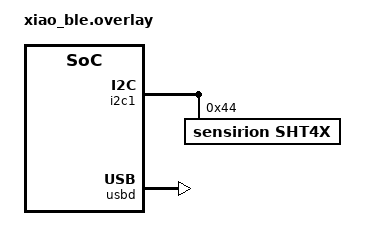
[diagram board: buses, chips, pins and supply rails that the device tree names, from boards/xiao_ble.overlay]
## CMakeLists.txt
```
#
# Copyright (c) 2025 Nordic Semiconductor ASA
#
# SPDX-License-Identifier: LicenseRef-Nordic-5-Clause
#

cmake_minimum_required(VERSION 3.20.0)

find_package(Zephyr HINTS $ENV{ZEPHYR_BASE})

project(matter-temperature-sensor)

# Enable GNU STD support.
include(${ZEPHYR_CONNECTEDHOMEIP_MODULE_DIR}/config/nrfconnect/app/enable-gnu-std.cmake)

# NORDIC SDK APP START

# Include all source files that are located in the Matter common directory.
include(${ZEPHYR_NRF_MODULE_DIR}/samples/matter/common/cmake/source_common.cmake)

# Include Data Model utils
include(${ZEPHYR_NRF_MODULE_DIR}/samples/matter/common/cmake/data_model.cmake)

include(${ZEPHYR_NRF_MODULE_DIR}/samples/matter/common/cmake/zap_helpers.cmake)
ncs_get_zap_parent_dir(ZAP_PARENT_DIR)

target_include_directories(app PRIVATE
  src
  ${ZAP_PARENT_DIR}
)

target_sources(app PRIVATE
  src/app_task.cpp
  src/main.cpp
  src/tinyenv_device_identity.cpp
)

if(CONFIG_SHELL)
  target_sources(app PRIVATE src/shell_commands.cpp)
endif()

ncs_configure_data_model()
# NORDIC SDK APP END
```

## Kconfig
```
#
# Copyright (c) 2025 Nordic Semiconductor
#
# SPDX-License-Identifier: LicenseRef-Nordic-5-Clause
#
mainmenu "Matter nRF Connect Temperature Sensor Example Application"

choice OPENTHREAD_NORDIC_LIBRARY_CONFIGURATION
	default OPENTHREAD_NORDIC_LIBRARY_MTD
endchoice

choice OPENTHREAD_DEVICE_TYPE
	default OPENTHREAD_MTD
endchoice

config CHIP_ENABLE_ICD_SUPPORT
	default y

config CHIP_ICD_LIT_SUPPORT
	default y

config CHIP_ICD_SIT_SLOW_POLL_LIMIT
	default 5000

config CHIP_ICD_REPORT_ON_ACTIVE_MODE
	default y

# Application logging verbosity gate
config TINYENV_VERBOSE_LOGS
	bool "Enable verbose TinyENV nRF sensor logs"
	default n

config TINYENV_DISABLE_BOARD_UI
	bool "Disable board UI (LED widget/event handler)"
	default n

config TINYENV_ENABLE_STATUS_LED_ACTIVITY
	bool "Enable status LED thread and sensor-pulse LED"
	default y

config TINYENV_ENABLE_BOOT_I2C_SCAN
	bool "Enable I2C bus scan at boot"
	default n

config TINYENV_WIPE_SETTINGS_ON_BOOT
	bool "Erase settings storage on boot"
	default n
	help
	  One-shot recovery mode for UF2-only boards. Erases the settings
	  partition at boot, logs the result, and parks instead of starting Matter.

config TINYENV_RUNTIME_IDENTITY_PROVIDER
	bool "Use runtime Matter identity provider"
	default y
	help
	  Derive Matter serial/RDI values from nRF FICR at runtime. Disable only
	  for bring-up isolation when testing Matter/OpenThread initialization.

config TINYENV_POST_COMMISSION_THREAD_TX_POWER_DBM
	int "Thread TX power after commissioning (dBm)"
	range -20 20
	default 0
	help
	  Runtime Thread TX power used after commissioning hold expires.
	  During commissioning window and post-close grace, firmware forces
	  full power for reliability.

config TINYENV_DIAGNOSTIC_MODE
	bool "Enable diagnostic telemetry mode"
	default n
	help
	  Enables persistent counters, reset-cause tracking, watchdog setup,
	  periodic health snapshots, and detached-role recovery logging.

config TINYENV_DIAG_WATCHDOG_TIMEOUT_SEC
	int "Diagnostic watchdog timeout (seconds)"
	range 30 3600
	default 180
	depends on TINYENV_DIAGNOSTIC_MODE

config TINYENV_DIAG_SNAPSHOT_INTERVAL_SEC
	int "Diagnostic health snapshot interval (seconds)"
	range 60 3600
	default 600
	depends on TINYENV_DIAGNOSTIC_MODE

config TINYENV_DIAG_DETACHED_REBOOT_SEC
	int "Commissioned detached-role reboot threshold (seconds)"
	range 60 3600
	default 300
	depends on TINYENV_DIAGNOSTIC_MODE

# Keep Thread TX power high enough for robust parent/router handoffs.
config OPENTHREAD_DEFAULT_TX_POWER
	default 8

source "$(ZEPHYR_CONNECTEDHOMEIP_MODULE_DIR)/config/nrfconnect/chip-module/Kconfig.features"
source "$(ZEPHYR_CONNECTEDHOMEIP_MODULE_DIR)/config/nrfconnect/chip-module/Kconfig.defaults"
source "$(ZEPHYR_NRF_MODULE_DIR)/samples/matter/common/src/Kconfig"
source "Kconfig.zephyr"
```

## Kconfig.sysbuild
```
#
# Copyright (c) 2025 Nordic Semiconductor ASA
#
# SPDX-License-Identifier: LicenseRef-Nordic-5-Clause
#

#### Radio core selection
config NRF_DEFAULT_IPC_RADIO
	default y

# Enable IEEE802.15.4 serialization to network core
# This config automatically pulls in the `overlay-802154.conf` in the ipc_radio image
config NETCORE_IPC_RADIO_IEEE802154
	default y if SOC_SERIES_NRF53X

# Enable Bluetooth serialization to network core
# This config automatically pulls in the `overlay-bt_hci_ipc.conf` in the ipc_radio image
config NETCORE_IPC_RADIO_BT_HCI_IPC
	default y if SOC_SERIES_NRF53X

#### Bootloader
choice BOOTLOADER
	default BOOTLOADER_MCUBOOT
endchoice

if BOOTLOADER_MCUBOOT

#### DFU multi-image support
config DFU_MULTI_IMAGE_PACKAGE_BUILD
	default y

config DFU_MULTI_IMAGE_PACKAGE_APP
	default y

config PM_EXTERNAL_FLASH_MCUBOOT_SECONDARY
	default y

#### DFU network core configuration
if SOC_SERIES_NRF53X

config MCUBOOT_UPDATEABLE_IMAGES
	default 2

choice MCUBOOT_MODE
	default MCUBOOT_MODE_OVERWRITE_ONLY
endchoice

choice BOOT_SIGNATURE_TYPE
	default BOOT_SIGNATURE_TYPE_RSA
endchoice

config SECURE_BOOT_NETCORE
	default y

config NETCORE_APP_UPDATE
	default y

config DFU_MULTI_IMAGE_PACKAGE_NET
	default y

endif # SOC_SERIES_NRF53X

endif # BOOTLOADER_MCUBOOT

#### Enable generating factory data
config MATTER_FACTORY_DATA_GENERATE
	default y

source "share/sysbuild/Kconfig"
```

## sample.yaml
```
sample:
  description: Matter Temperature Sensor example
  name: Matter Temperature Sensor
common:
  tags:
    - sysbuild
    - ci_samples_matter
tests:
  sample.matter.temperature_sensor.debug:
    sysbuild: true
    build_only: true
    integration_platforms:
      - xiao_ble
    platform_allow:
      - xiao_ble
  sample.matter.temperature_sensor.release:
    sysbuild: true
    build_only: true
    extra_args:
      - FILE_SUFFIX=release
    integration_platforms:
      - xiao_ble
    platform_allow:
      - xiao_ble
```

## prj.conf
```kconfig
#
# Copyright (c) 2025 Nordic Semiconductor ASA
#
# SPDX-License-Identifier: LicenseRef-Nordic-5-Clause
#

# Enable CHIP
CONFIG_CHIP=y
CONFIG_CHIP_PROJECT_CONFIG="src/chip_project_config.h"
CONFIG_CHIP_DEVICE_PRODUCT_NAME="Matter Temperature Sensor"

# Configure ZAP file name
CONFIG_NCS_SAMPLE_MATTER_ZAP_FILE_PATH="${APPLICATION_CONFIG_DIR}/src/default_zap/temperature_sensor.zap"

# Based on https://github.com/project-chip/connectedhomeip/blob/482e6fd03196a6de45465a90003947ef4b86e0b1/docs/examples/discussion/PID_allocation_for_example_apps.md)
CONFIG_CHIP_DEVICE_PRODUCT_ID=32781
CONFIG_STD_CPP17=y

# Enable Matter pairing automatically on application start.
CONFIG_CHIP_ENABLE_PAIRING_AUTOSTART=y

# Enable Matter extended announcement and increase duration to 1 hour.
CONFIG_CHIP_BLE_EXT_ADVERTISING=y
CONFIG_CHIP_BLE_ADVERTISING_DURATION=60

# Add support for LEDs and buttons on Nordic development kits
CONFIG_DK_LIBRARY=y

# Bluetooth Low Energy configuration
CONFIG_BT_DEVICE_NAME="MatterTemperature"
CONFIG_BT_DEVICE_NAME_MAX=18

# Suspend devices when the CPU goes into sleep
CONFIG_PM_DEVICE=y

# Sensors (SHT4x over I2C)
CONFIG_I2C=y
CONFIG_SENSOR=y
CONFIG_SHT4X=y

# Battery sensing placeholder (ADC wiring TBD)
CONFIG_ADC=y

# Other settings
CONFIG_THREAD_NAME=y
CONFIG_MPU_STACK_GUARD=y
CONFIG_RESET_ON_FATAL_ERROR=n
CONFIG_CHIP_LIB_SHELL=y

# App logging
CONFIG_TINYENV_VERBOSE_LOGS=n
CONFIG_CHIP_APP_LOG_LEVEL=2
CONFIG_MATTER_LOG_LEVEL_ERR=y
CONFIG_LOG_DEFAULT_LEVEL=2

# ICD timing
CONFIG_CHIP_ICD_SLOW_POLL_INTERVAL=60000
CONFIG_CHIP_ICD_FAST_POLLING_INTERVAL=1000

# UF2 output
CONFIG_BUILD_OUTPUT_UF2=y

# Matter device identity strings (avoid redefinition in CHIPDevicePlatformConfig.h).
CONFIG_CHIP_DEVICE_VENDOR_NAME="Waite Design Labs"
CONFIG_CHIP_DEVICE_PRODUCT_NAME="TinyENV nRF Sensor"
CONFIG_CHIP_DEVICE_HARDWARE_VERSION_STRING="1.0"

# NFC onboarding not used; avoid pulling in NFC libraries.
CONFIG_CHIP_NFC_ONBOARDING_PAYLOAD=n

# Reduce application size
CONFIG_USE_SEGGER_RTT=n

# Enable Factory Data feature
CONFIG_CHIP_FACTORY_DATA=y
CONFIG_CHIP_FACTORY_DATA_BUILD=y
CONFIG_BUILD_OUTPUT_UF2=y
```

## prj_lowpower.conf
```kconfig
# Low-power measurement profile.
# Use with prj.conf + prj_uf2.conf:
#   -DCONF_FILE=prj.conf -DEXTRA_CONF_FILE=prj_uf2.conf;prj_lowpower.conf

# Enable system/device power management.
CONFIG_PM=y
CONFIG_PM_DEVICE=y

# Disable interactive/debug interfaces for current measurements.
CONFIG_CHIP_LIB_SHELL=n
CONFIG_SHELL=n
CONFIG_OPENTHREAD_SHELL=n
CONFIG_CONSOLE=n
CONFIG_UART_CONSOLE=n
CONFIG_SERIAL=n
CONFIG_LOG=n
CONFIG_PRINTK=n

# Keep USB stack disabled in low-power profile.
CONFIG_USB_DEVICE_STACK_NEXT=n
CONFIG_USBD_CDC_ACM_CLASS=n
CONFIG_CDC_ACM_SERIAL_INITIALIZE_AT_BOOT=n

# Allow first-time provisioning in LP profile without reflashing.
# This auto-starts BLE commissioning when the device has no fabric.
CONFIG_CHIP_ENABLE_PAIRING_AUTOSTART=y
# Minimum allowed in this SDK is 15 minutes.
CONFIG_CHIP_BLE_ADVERTISING_DURATION=15

# Disable periodic LED/UI activity and startup scans.
CONFIG_TINYENV_DISABLE_BOARD_UI=y
CONFIG_TINYENV_ENABLE_STATUS_LED_ACTIVITY=n
CONFIG_TINYENV_ENABLE_BOOT_I2C_SCAN=n

# Commissioning-safe ICD tuning.
CONFIG_CHIP_ICD_ACTIVE_MODE_DURATION=300
CONFIG_CHIP_ICD_FAST_POLLING_INTERVAL=1000
CONFIG_CHIP_ICD_SLOW_POLL_INTERVAL=60000
CONFIG_CHIP_ICD_REPORT_ON_ACTIVE_MODE=n
CONFIG_CHIP_ICD_UAT_SUPPORT=n

# Thread TX power after commissioning hold ends (dBm).
CONFIG_TINYENV_POST_COMMISSION_THREAD_TX_POWER_DBM=0
```

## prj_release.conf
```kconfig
#
# Copyright (c) 2025 Nordic Semiconductor ASA
#
# SPDX-License-Identifier: LicenseRef-Nordic-5-Clause
#

# Enable CHIP
CONFIG_CHIP=y
CONFIG_CHIP_PROJECT_CONFIG="src/chip_project_config.h"
CONFIG_CHIP_DEVICE_PRODUCT_NAME="Matter Temperature Sensor"
CONFIG_CHIP_APP_LOG_LEVEL=2
CONFIG_MATTER_LOG_LEVEL_ERR=y
CONFIG_LOG_DEFAULT_LEVEL=2

# Configure ZAP file name
CONFIG_NCS_SAMPLE_MATTER_ZAP_FILE_PATH="${APPLICATION_CONFIG_DIR}/src/default_zap/temperature_sensor.zap"

# Based on https://github.com/project-chip/connectedhomeip/blob/482e6fd03196a6de45465a90003947ef4b86e0b1/docs/examples/discussion/PID_allocation_for_example_apps.md)
CONFIG_CHIP_DEVICE_PRODUCT_ID=32781
CONFIG_STD_CPP17=y

# Enable Matter pairing automatically on application start.
CONFIG_CHIP_ENABLE_PAIRING_AUTOSTART=y

# Enable Matter extended announcement and increase duration to 1 hour.
CONFIG_CHIP_BLE_EXT_ADVERTISING=y
CONFIG_CHIP_BLE_ADVERTISING_DURATION=60

# Add support for LEDs and buttons on Nordic development kits
CONFIG_DK_LIBRARY=y

# Try to disable unused RAM blocks to reduce power consumption
CONFIG_RAM_POWER_DOWN_LIBRARY=y

# Bluetooth Low Energy configuration
CONFIG_BT_DEVICE_NAME="MatterTemperature"
CONFIG_BT_DEVICE_NAME_MAX=18

# Suspend devices when the CPU goes into sleep
CONFIG_PM_DEVICE=y

# Enable system reset on fatal error
CONFIG_RESET_ON_FATAL_ERROR=y

# Disable all debug features
CONFIG_USE_SEGGER_RTT=n
CONFIG_SHELL=n
CONFIG_OPENTHREAD_SHELL=n
CONFIG_CONSOLE=n
CONFIG_UART_CONSOLE=n
CONFIG_SERIAL=n
CONFIG_LOG=n
CONFIG_LOG_MODE_MINIMAL=n
CONFIG_ASSERT_VERBOSE=n
CONFIG_ASSERT_NO_FILE_INFO=y
CONFIG_PRINTK=n
CONFIG_PRINTK_SYNC=n
CONFIG_THREAD_NAME=n
CONFIG_BOOT_BANNER=n

# Enable Factory Data feature
CONFIG_CHIP_FACTORY_DATA=y
CONFIG_CHIP_FACTORY_DATA_BUILD=y

# Enable Watchdog
CONFIG_NCS_SAMPLE_MATTER_WATCHDOG=y

# Enable LTO to decrease the flash usage.
CONFIG_LTO=y
CONFIG_ISR_TABLES_LOCAL_DECLARATION=y
```

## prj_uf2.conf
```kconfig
# UF2-only build (no MCUboot/OTA/Factory Data generation).
CONFIG_CHIP_BOOTLOADER_NONE=y
CONFIG_BOOTLOADER_MCUBOOT=n
CONFIG_DFU_MULTI_IMAGE=n
CONFIG_DFU_TARGET=n
CONFIG_IMG_MANAGER=n

CONFIG_CHIP_OTA_REQUESTOR=n
CONFIG_CHIP_OTA_IMAGE_BUILD=n
CONFIG_CHIP_FACTORY_DATA=n
CONFIG_CHIP_FACTORY_DATA_BUILD=n

# USB CDC logging (new USB device stack).
CONFIG_USB_DEVICE_STACK=n
CONFIG_USB_DEVICE_STACK_NEXT=y
CONFIG_USBD_CDC_ACM_CLASS=y
CONFIG_CDC_ACM_SERIAL_INITIALIZE_AT_BOOT=y
CONFIG_CDC_ACM_SERIAL_MANUFACTURER_STRING="TinyENV"
CONFIG_CDC_ACM_SERIAL_PRODUCT_STRING="TinyENV nRF Sensor"
CONFIG_CDC_ACM_SERIAL_VID=0x2886
CONFIG_CDC_ACM_SERIAL_PID=0x8045
CONFIG_CDC_ACM_SERIAL_SELF_POWERED=y
CONFIG_CDC_ACM_SERIAL_MAX_POWER=50
CONFIG_UART_LINE_CTRL=y
CONFIG_CONSOLE=y
CONFIG_UART_CONSOLE=y
CONFIG_SERIAL=y
CONFIG_LOG=y
CONFIG_LOG_BACKEND_UART=y
CONFIG_LOG_MODE_MINIMAL=n
CONFIG_LOG_MODE_DEFERRED=y
CONFIG_LOG_MODE_IMMEDIATE=n

CONFIG_TINYENV_DISABLE_BOARD_UI=y
CONFIG_CHIP_APP_LOG_LEVEL=2
CONFIG_MATTER_LOG_LEVEL_ERR=y
CONFIG_LOG_DEFAULT_LEVEL=2

# Keep USB alive while debugging enumeration.
CONFIG_PM=n
CONFIG_PM_DEVICE=n

# UF2 family ID for NRF52 (matches Seeed UF2 tooling).
CONFIG_BUILD_OUTPUT_UF2_FAMILY_ID="0xADA52840"
```

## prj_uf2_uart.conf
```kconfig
# UF2-only build with UART console/logging only (no USB CDC).
CONFIG_CHIP_BOOTLOADER_NONE=y
CONFIG_BOOTLOADER_MCUBOOT=n
CONFIG_DFU_MULTI_IMAGE=n
CONFIG_DFU_TARGET=n
CONFIG_IMG_MANAGER=n

CONFIG_CHIP_OTA_REQUESTOR=n
CONFIG_CHIP_OTA_IMAGE_BUILD=n
CONFIG_CHIP_FACTORY_DATA=n
CONFIG_CHIP_FACTORY_DATA_BUILD=n

# Disable USB device stack and CDC ACM completely for this variant.
CONFIG_USB_DEVICE_STACK=n
CONFIG_USB_DEVICE_STACK_NEXT=n
CONFIG_USBD_CDC_ACM_CLASS=n
CONFIG_CDC_ACM_SERIAL_INITIALIZE_AT_BOOT=n

# Route logs/console over UART only.
CONFIG_CONSOLE=y
CONFIG_UART_CONSOLE=y
CONFIG_SERIAL=y
CONFIG_LOG=y
CONFIG_LOG_BACKEND_UART=y
CONFIG_LOG_MODE_MINIMAL=n
CONFIG_LOG_MODE_DEFERRED=y
CONFIG_LOG_MODE_IMMEDIATE=n
CONFIG_UART_LINE_CTRL=y

# Keep this in line with UF2 debug profile defaults.
CONFIG_TINYENV_DISABLE_BOARD_UI=y
CONFIG_CHIP_APP_LOG_LEVEL=2
CONFIG_MATTER_LOG_LEVEL_ERR=y
CONFIG_LOG_DEFAULT_LEVEL=2

# Keep USB-related PM behavior out of this profile.
CONFIG_PM=n
CONFIG_PM_DEVICE=n

# UF2 family ID for NRF52 (matches Seeed UF2 tooling).
CONFIG_BUILD_OUTPUT_UF2_FAMILY_ID="0xADA52840"
```

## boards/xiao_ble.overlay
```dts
&i2c1 {
	status = "okay";

	sht4x: sht4x@44 {
		compatible = "sensirion,sht4x";
		reg = <0x44>;
		repeatability = <2>; /* high */
	};
};

/ {
	buttons {
		compatible = "gpio-keys";
	};
};

&usbd {
	status = "okay";
};
```

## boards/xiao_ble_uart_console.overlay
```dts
/* UART-only console override for XIAO nRF52840.
 * Routes Zephyr console/shell/log transport to uart0 and disables USB device.
 *
 * xiao_ble pin map:
 *   uart0 TX = P1.11 = D6
 *   uart0 RX = P1.12 = D7
 */
/ {
	chosen {
		zephyr,console = &uart0;
		zephyr,shell-uart = &uart0;
		zephyr,uart-mcumgr = &uart0;
		zephyr,bt-mon-uart = &uart0;
		zephyr,bt-c2h-uart = &uart0;
	};
};

&zephyr_udc0 {
	status = "disabled";
};
```

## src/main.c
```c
#include <zephyr/kernel.h>
#include <zephyr/sys/printk.h>

int main(void)
{
  while (1) {
    printk("nrf-TinyENV: hello from Zephyr\n");
    k_sleep(K_SECONDS(2));
  }
  return 0;
}
```

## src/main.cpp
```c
/*
 * Copyright (c) 2025 Nordic Semiconductor ASA
 *
 * SPDX-License-Identifier: LicenseRef-Nordic-5-Clause
 */

#include "app_task.h"

#include <zephyr/kernel.h>
#include <zephyr/logging/log.h>
#if CONFIG_TINYENV_WIPE_SETTINGS_ON_BOOT
#include <zephyr/storage/flash_map.h>
#endif
#if defined(CONFIG_USB_DEVICE_STACK) && !defined(CONFIG_USB_DEVICE_STACK_NEXT)
#include <zephyr/usb/usb_device.h>
#endif

LOG_MODULE_REGISTER(app, CONFIG_CHIP_APP_LOG_LEVEL);

#if CONFIG_TINYENV_WIPE_SETTINGS_ON_BOOT
static void WipeSettingsAndPark()
{
	const struct flash_area *fa = nullptr;
	int err = flash_area_open(FIXED_PARTITION_ID(storage_partition), &fa);
	if (err != 0 || fa == nullptr) {
		LOG_ERR("Settings wipe: failed to open storage partition: %d", err);
	} else {
		err = flash_area_erase(fa, 0, fa->fa_size);
		flash_area_close(fa);
		if (err == 0) {
			LOG_ERR("Settings wipe: storage partition erased. Flash a normal UF2 image now.");
		} else {
			LOG_ERR("Settings wipe: erase failed: %d", err);
		}
	}

	while (true) {
		k_sleep(K_FOREVER);
	}
}
#endif

int main()
{
#if defined(CONFIG_USB_DEVICE_STACK) && !defined(CONFIG_USB_DEVICE_STACK_NEXT)
	int usb_rc = usb_enable(NULL);
	if (usb_rc != 0) {
		LOG_ERR("USB enable failed: %d", usb_rc);
	}
#endif

#if CONFIG_TINYENV_WIPE_SETTINGS_ON_BOOT
	WipeSettingsAndPark();
#endif

	CHIP_ERROR err = AppTask::Instance().StartApp();

	LOG_ERR("Exited with code %" CHIP_ERROR_FORMAT, err.Format());
	return err == CHIP_NO_ERROR ? EXIT_SUCCESS : EXIT_FAILURE;
}
```

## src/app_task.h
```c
/*
 * Copyright (c) 2025 Nordic Semiconductor ASA
 *
 * SPDX-License-Identifier: LicenseRef-Nordic-5-Clause
 */

#pragma once

#include "board/board.h"

#include <platform/CHIPDeviceLayer.h>
#include <openthread/thread.h>
#include <stdint.h>

struct Identify;
struct device;

class AppTask {
public:
	static AppTask &Instance()
	{
		static AppTask sAppTask;
		return sAppTask;
	};

	CHIP_ERROR StartApp();

	int16_t GetCurrentTemperature() const { return mCurrentTemperature; }
	uint16_t GetCurrentHumidity() const { return mCurrentHumidity; }
	void MaybeLogAndPersistHealthSnapshot();
	void DiagOnBoot();
	void DiagOnThreadDetached();
	void DiagOnThreadReattached();
	void DiagOnSensorReadFailure();
	void DiagOnAdcReadFailure();
	void DiagFeedWatchdog();
	void DiagInitWatchdog();

private:
	CHIP_ERROR Init();
	k_timer mTimer;
	k_timer mCommissionPolicyTimer;

	static constexpr uint32_t kSensorUpdateIntervalMs = 60000; /* 60 seconds */
	static constexpr uint32_t kCommissionGraceMs = 30000; /* allow initial networking */
	static constexpr uint32_t kCommissionWindowPostCloseGraceMs = 180000; /* 3 minutes */
	static constexpr uint32_t kCommissionAwakeKickPeriodMs = 1000; /* keep ICD active while pairing */
	static constexpr int8_t kCommissioningThreadTxPowerDbm = 8; /* use full Thread TX power while pairing */
	static constexpr int8_t kPostCommissionThreadTxPowerDbm =
		CONFIG_TINYENV_POST_COMMISSION_THREAD_TX_POWER_DBM;

	static void UpdateTemperatureTimeoutCallback(k_timer *timer);
	static void CommissionPolicyTimeoutCallback(k_timer *timer);

	static void ButtonEventHandler(Nrf::ButtonState state, Nrf::ButtonMask hasChanged);

	bool UpdateSensorReadings(bool force);
	void UpdateCommissioningAwakePolicy();
	void ApplyThreadTxPower(int8_t txPowerDbm, const char *context);
	void UpdateMatterAttributes();
	bool IsCommissioned() const;
	void HandleThreadStateChange(otChangedFlags flags);

	const struct device *mSht4x = nullptr;
	bool mShtReady = false;
	int64_t mCommissionedAtMs = 0;
	bool mWasCommissioned = false;
	bool mCommissioningWindowOpen = false;
	int64_t mStayAwakeUntilMs = 0;
	int64_t mLastAwakeKickMs = 0;
	int8_t mAppliedThreadTxPowerDbm = -128;

	int16_t mTemperatureSensorMaxValue = 0;
	int16_t mTemperatureSensorMinValue = 0;
	int16_t mCurrentTemperature = 0;
	uint16_t mCurrentHumidity = 0;
	otDeviceRole mLastThreadRole = OT_DEVICE_ROLE_DISABLED;
	uint16_t mLastParentRloc16 = 0;
	bool mHasLastParent = false;
	bool mThreadDetached = false;
	int64_t mThreadDetachedSinceMs = 0;
	int64_t mLastHealthSnapshotMs = 0;
	int mWdtChannel = -1;
	uint32_t mDiagBootCount = 0;
	uint32_t mDiagWdtResetCount = 0;
	uint32_t mDiagThreadDetachCount = 0;
	uint32_t mDiagThreadReattachCount = 0;
	uint32_t mDiagSensorFailureCount = 0;
	uint32_t mDiagAdcFailureCount = 0;
	uint32_t mDiagLastResetReas = 0;
};
```

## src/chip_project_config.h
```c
/*
 * Copyright (c) 2025 Nordic Semiconductor ASA
 *
 * SPDX-License-Identifier: LicenseRef-Nordic-5-Clause
 */

/**
 *    @file
 *          Example project configuration file for CHIP.
 *
 *          This is a place to put application or project-specific overrides
 *          to the default configuration values for general CHIP features.
 *
 */

#pragma once

/* Device identity strings are set via Kconfig (CONFIG_CHIP_DEVICE_*). */
```

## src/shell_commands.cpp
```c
/*
 * Copyright (c) 2025 Nordic Semiconductor ASA
 *
 * SPDX-License-Identifier: LicenseRef-Nordic-5-Clause
 */

#include <app/server/Server.h>

#include <errno.h>
#include <zephyr/kernel.h>
#include <zephyr/settings/settings.h>
#include <zephyr/storage/flash_map.h>
#include <zephyr/shell/shell.h>
#include <zephyr/sys/reboot.h>

static int cmd_decom(const struct shell *shell, size_t argc, char **argv)
{
	ARG_UNUSED(argc);
	ARG_UNUSED(argv);

	shell_print(shell, "Factory reset requested (decommission).");
	chip::Server::GetInstance().ScheduleFactoryReset();
	return 0;
}

SHELL_CMD_REGISTER(decom, NULL, "Decommission device (factory reset).", cmd_decom);

static int cmd_wipe_settings(const struct shell *shell, size_t argc, char **argv)
{
	ARG_UNUSED(argc);
	ARG_UNUSED(argv);

	const struct flash_area *fa = nullptr;
	int err = flash_area_open(FIXED_PARTITION_ID(storage_partition), &fa);
	if (err != 0 || fa == nullptr) {
		shell_error(shell, "Failed to open storage partition: %d", err);
		return err != 0 ? err : -ENODEV;
	}

	err = flash_area_erase(fa, 0, fa->fa_size);
	flash_area_close(fa);
	if (err != 0) {
		shell_error(shell, "Failed to erase storage partition: %d", err);
		return err;
	}

	shell_print(shell, "Storage partition erased. Rebooting...");
	k_msleep(100);
	sys_reboot(SYS_REBOOT_COLD);
	return 0;
}

SHELL_CMD_REGISTER(wipe_settings, NULL, "Erase settings storage partition and reboot.", cmd_wipe_settings);

static int cmd_diag_dump(const struct shell *shell, size_t argc, char **argv)
{
	ARG_UNUSED(argc);
	ARG_UNUSED(argv);

	struct Ctx {
		const struct shell *shell;
		bool any;
	} ctx = {shell, false};

	int err = settings_load_subtree_direct(
		"tinyenv/diag",
		[](const char *key, size_t len, settings_read_cb read_cb, void *cb_arg, void *param) -> int {
			auto *ctx = static_cast<Ctx *>(param);
			uint32_t value = 0;
			if (len == sizeof(value) &&
			    read_cb(cb_arg, &value, sizeof(value)) == static_cast<ssize_t>(sizeof(value))) {
				shell_print(ctx->shell, "tinyenv/diag/%s: %u", key, value);
				ctx->any = true;
			}
			return 0;
		},
		&ctx);
	if (err != 0) {
		shell_error(shell, "diag read failed: %d", err);
		return err;
	}

	if (!ctx.any) {
		shell_print(shell, "No diagnostic keys found.");
	}

	return 0;
}

SHELL_CMD_REGISTER(diag_dump, NULL, "Dump TinyENV persisted diagnostic counters.", cmd_diag_dump);
```

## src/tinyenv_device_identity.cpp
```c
/*
 * Copyright (c) 2025 Nordic Semiconductor ASA
 *
 * SPDX-License-Identifier: LicenseRef-Nordic-5-Clause
 */

#include "tinyenv_device_identity.h"

#include <crypto/CHIPCryptoPAL.h>
#include <lib/support/CodeUtils.h>
#include <platform/ConfigurationManager.h>
#include <platform/DeviceInstanceInfoProvider.h>
#include <platform/nrfconnect/DeviceInstanceInfoProviderImpl.h>

#include <hal/nrf_ficr.h>
#include <zephyr/logging/log.h>
#include <zephyr/sys/byteorder.h>

#include <cstdio>
#include <cstring>

LOG_MODULE_DECLARE(app, CONFIG_CHIP_APP_LOG_LEVEL);

namespace
{
constexpr size_t kMatterRuntimeIdentitySeedLen = 16;
constexpr size_t kMatterRotatingIdUniqueIdLen = 16;

void GetHardwareIdentitySeed(uint8_t *seed)
{
	sys_put_le32(nrf_ficr_deviceid_get(NRF_FICR, 0), &seed[0]);
	sys_put_le32(nrf_ficr_deviceid_get(NRF_FICR, 1), &seed[4]);
	sys_put_le32(nrf_ficr_deviceaddr_get(NRF_FICR, 0), &seed[8]);
	sys_put_le32(nrf_ficr_deviceaddr_get(NRF_FICR, 1), &seed[12]);
}

CHIP_ERROR GetRuntimeRotatingIdUniqueId(chip::MutableByteSpan &uniqueIdSpan)
{
	VerifyOrReturnError(uniqueIdSpan.size() >= kMatterRotatingIdUniqueIdLen, CHIP_ERROR_BUFFER_TOO_SMALL);

	uint8_t seed[kMatterRuntimeIdentitySeedLen];
	uint8_t digest[chip::Crypto::kSHA256_Hash_Length];
	GetHardwareIdentitySeed(seed);

	ReturnErrorOnFailure(chip::Crypto::Hash_SHA256(seed, sizeof(seed), digest));
	std::memcpy(uniqueIdSpan.data(), digest, kMatterRotatingIdUniqueIdLen);
	uniqueIdSpan.reduce_size(kMatterRotatingIdUniqueIdLen);

	return CHIP_NO_ERROR;
}

class TinyEnvDeviceInstanceInfoProvider final : public chip::DeviceLayer::DeviceInstanceInfoProviderImpl {
public:
	TinyEnvDeviceInstanceInfoProvider() :
		chip::DeviceLayer::DeviceInstanceInfoProviderImpl(
			chip::DeviceLayer::ConfigurationManagerImpl::GetDefaultInstance())
	{
	}

	CHIP_ERROR GetSerialNumber(char *buf, size_t bufSize) override
	{
		return TinyEnvGetRuntimeSerialNumber(buf, bufSize);
	}

	CHIP_ERROR GetRotatingDeviceIdUniqueId(chip::MutableByteSpan &uniqueIdSpan) override
	{
		return GetRuntimeRotatingIdUniqueId(uniqueIdSpan);
	}
};

TinyEnvDeviceInstanceInfoProvider &RuntimeDeviceInstanceInfoProvider()
{
	static TinyEnvDeviceInstanceInfoProvider provider;
	return provider;
}
} // namespace

CHIP_ERROR TinyEnvGetRuntimeSerialNumber(char *buf, size_t bufSize)
{
	const int written = std::snprintf(buf, bufSize, "TINYENV-NRF-%08lX%08lX",
					 static_cast<unsigned long>(nrf_ficr_deviceid_get(NRF_FICR, 1)),
					 static_cast<unsigned long>(nrf_ficr_deviceid_get(NRF_FICR, 0)));

	VerifyOrReturnError(written > 0, CHIP_ERROR_INTERNAL);
	VerifyOrReturnError(static_cast<size_t>(written) < bufSize, CHIP_ERROR_BUFFER_TOO_SMALL);

	return CHIP_NO_ERROR;
}

CHIP_ERROR TinyEnvInstallRuntimeDeviceInstanceInfoProvider()
{
	chip::DeviceLayer::SetDeviceInstanceInfoProvider(&RuntimeDeviceInstanceInfoProvider());
	return CHIP_NO_ERROR;
}

CHIP_ERROR TinyEnvConfigureRuntimeMatterIdentity()
{
	char serial[chip::DeviceLayer::ConfigurationManager::kMaxSerialNumberLength + 1];
	ReturnErrorOnFailure(TinyEnvGetRuntimeSerialNumber(serial, sizeof(serial)));
	ReturnErrorOnFailure(TinyEnvInstallRuntimeDeviceInstanceInfoProvider());
	LOG_WRN("Matter runtime identity: serial=%s", serial);

	return CHIP_NO_ERROR;
}
```

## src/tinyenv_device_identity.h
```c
/*
 * Copyright (c) 2025 Nordic Semiconductor ASA
 *
 * SPDX-License-Identifier: LicenseRef-Nordic-5-Clause
 */

#pragma once

#include <lib/core/CHIPError.h>

CHIP_ERROR TinyEnvConfigureRuntimeMatterIdentity();
CHIP_ERROR TinyEnvInstallRuntimeDeviceInstanceInfoProvider();
CHIP_ERROR TinyEnvGetRuntimeSerialNumber(char *buf, size_t bufSize);
```
